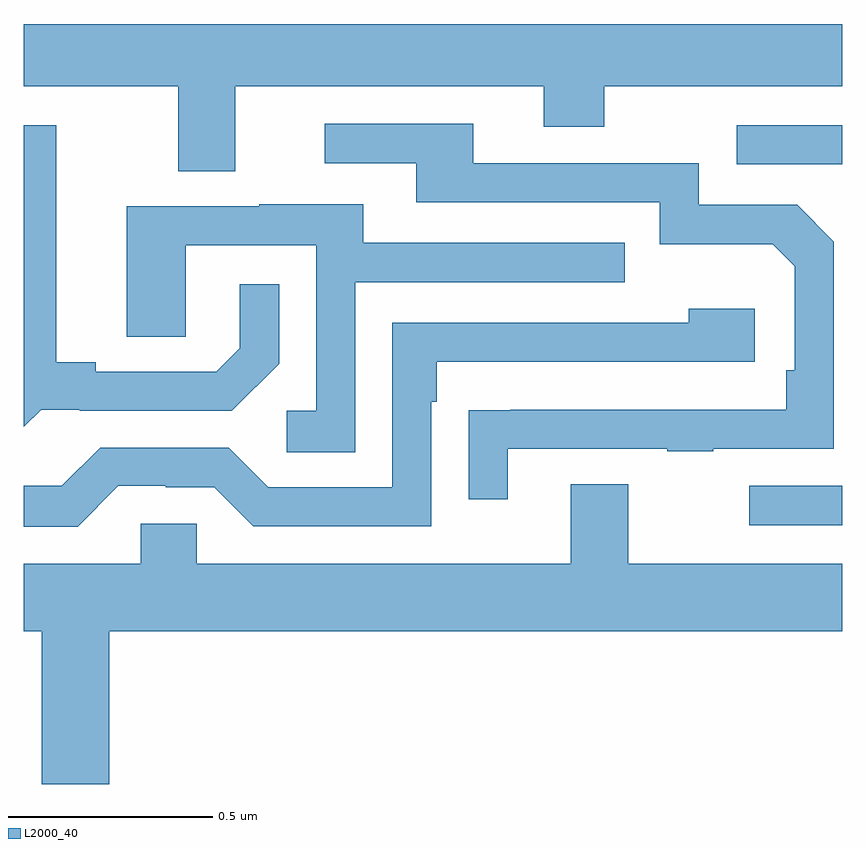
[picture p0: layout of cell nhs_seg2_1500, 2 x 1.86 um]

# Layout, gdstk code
import gdstk
lib = gdstk.Library(unit=1e-6, precision=1e-09)
def R(c, l, rs):  # rectangles x0, y0, x1, y1
    for r in rs: c.add(gdstk.rectangle(r[:2], r[2:], *l))
def P(c, l, *ps):  # polygons
    for p in ps: c.add(gdstk.Polygon(p, *l))
L2000_40 = (2000, 40)

nhs_seg2_1500 = lib.new_cell('nhs_seg2_1500')
R(nhs_seg2_1500, L2000_40, [(130.773,634.575,131,634.671), (130.743,635.457,131,635.553)])
P(nhs_seg2_1500, L2000_40, [(129.517,635.648),(130.271,635.648),(130.271,635.549),(130.419,635.549),(130.419,635.648),(131,635.648),(131,635.8),(129,635.8),(129,635.648),(129.377,635.648),(129.377,635.44),(129.517,635.44)],
  [(130.183,634.761),(130.573,634.761),(130.573,634.756),(130.685,634.756),(130.685,634.761),(130.98,634.761),(130.98,635.268),(130.89,635.358),(130.65,635.358),(130.65,635.46),(130.099,635.46),(130.099,635.556),(129.735,635.556),(129.735,635.46),(129.959,635.46),(129.959,635.364),(130.554,635.364),(130.554,635.261),(130.831,635.261),(130.884,635.208),(130.884,634.954),(130.864,634.954),(130.864,634.857),(130.189,634.857),(130.189,634.856),(130.087,634.856),(130.087,634.638),(130.183,634.638)],
  [(129.042,634.857),(129.136,634.857),(129.136,634.854),(129.508,634.854),(129.624,634.97),(129.624,635.164),(129.527,635.164),(129.527,635.007),(129.47,634.95),(129.175,634.95),(129.175,634.973),(129.079,634.973),(129.079,635.553),(129,635.553),(129,634.815)],
  [(129.81,635.169),(130.469,635.169),(130.469,635.265),(129.829,635.265),(129.829,635.359),(129.575,635.359),(129.575,635.355),(129.251,635.355),(129.251,635.035),(129.396,635.035),(129.396,635.259),(129.714,635.259),(129.714,634.854),(129.642,634.854),(129.642,634.753),(129.81,634.753)],
  [(129.231,634.671),(129.347,634.671),(129.347,634.668),(129.465,634.668),(129.561,634.572),(129.996,634.572),(129.996,634.877),(130.009,634.877),(130.009,634.974),(130.786,634.974),(130.786,635.104),(130.625,635.104),(130.625,635.07),(129.9,635.07),(129.9,634.668),(129.597,634.668),(129.501,634.764),(129.186,634.764),(129.093,634.671),(129,634.671),(129,634.571),(129.131,634.571)],
  [(129.208,634.316),(131,634.316),(131,634.48),(130.477,634.48),(130.477,634.675),(130.337,634.675),(130.337,634.48),(129.423,634.48),(129.423,634.578),(129.285,634.578),(129.285,634.48),(129,634.48),(129,634.316),(129.044,634.316),(129.044,633.942),(129.208,633.942)])

lib.write_gds('nhs_seg2_1500.gds')
